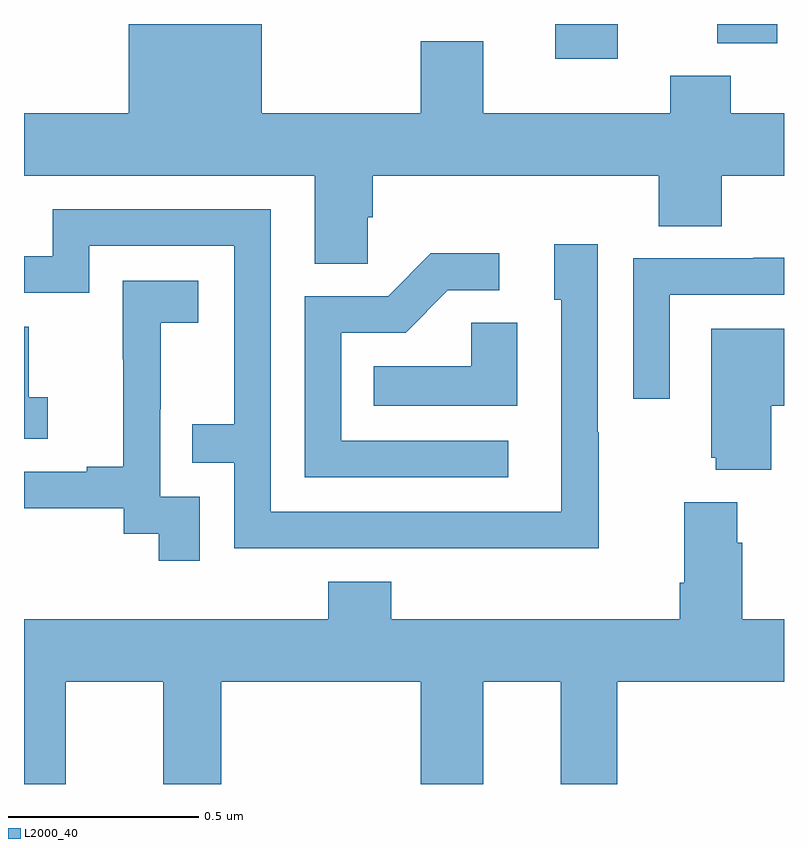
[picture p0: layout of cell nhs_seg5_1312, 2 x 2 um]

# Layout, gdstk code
import gdstk
lib = gdstk.Library(unit=1e-6, precision=1e-09)
def R(c, l, rs):  # rectangles x0, y0, x1, y1
    for r in rs: c.add(gdstk.rectangle(r[:2], r[2:], *l))
def P(c, l, *ps):  # polygons
    for p in ps: c.add(gdstk.Polygon(p, *l))
L2000_40 = (2000, 40)

nhs_seg5_1312 = lib.new_cell('nhs_seg5_1312')
R(nhs_seg5_1312, L2000_40, [(129.398,883.707,129.562,883.799), (129.824,883.748,129.982,883.799)])
P(nhs_seg5_1312, L2000_40, [(128.904,883.291),(128.918,883.291),(128.918,883.4),(129.671,883.4),(129.671,883.267),(129.836,883.267),(129.836,883.4),(130,883.4),(130,883.564),(129.86,883.564),(129.86,883.663),(129.7,883.663),(129.7,883.564),(129.208,883.564),(129.208,883.753),(129.044,883.753),(129.044,883.564),(128.626,883.564),(128.626,883.799),(128.276,883.799),(128.276,883.564),(128,883.564),(128,883.4),(128.765,883.4),(128.765,883.168),(128.904,883.168)],
  [(129.513,882.725),(129.51,882.725),(129.51,883.219),(129.395,883.219),(129.395,883.074),(129.414,883.074),(129.414,882.516),(128.649,882.516),(128.649,883.311),(128.075,883.311),(128.075,883.188),(128,883.188),(128,883.092),(128.172,883.092),(128.172,883.215),(128.553,883.215),(128.553,882.746),(128.443,882.746),(128.443,882.645),(128.553,882.645),(128.553,882.42),(129.049,882.42),(129.049,882.419),(129.513,882.419)],
  [(129.274,882.702),(128.835,882.702),(128.835,882.987),(129.004,882.987),(129.115,883.098),(129.25,883.098),(129.25,883.196),(129.071,883.196),(128.958,883.083),(128.739,883.083),(128.739,882.606),(129.274,882.606)],
  [(129.699,883.086),(130,883.086),(130,883.184),(129.919,883.184),(129.919,883.182),(129.603,883.182),(129.603,882.813),(129.699,882.813)],
  [(128.463,882.555),(128.358,882.555),(128.358,882.785),(128.36,882.785),(128.36,883.013),(128.458,883.013),(128.458,883.123),(128.26,883.123),(128.26,882.917),(128.261,882.917),(128.261,882.634),(128.165,882.634),(128.165,882.621),(128,882.621),(128,882.525),(128.262,882.525),(128.262,882.457),(128.355,882.457),(128.355,882.387),(128.463,882.387)],
  [(129.298,883.013),(129.177,883.013),(129.177,882.898),(128.92,882.898),(128.92,882.794),(129.298,882.794)],
  [(128.062,882.817),(128.013,882.817),(128.013,883.002),(128,883.002),(128,882.708),(128.062,882.708)],
  [(129.967,882.794),(130,882.794),(130,882.997),(129.809,882.997),(129.809,882.657),(129.821,882.657),(129.821,882.626),(129.967,882.626)],
  [(129.877,882.434),(129.877,882.541),(129.737,882.541),(129.737,882.328),(129.725,882.328),(129.725,882.232),(128.966,882.232),(128.966,882.331),(128.801,882.331),(128.801,882.232),(128,882.232),(128,881.799),(128.11,881.799),(128.11,882.068),(128.366,882.068),(128.366,881.799),(128.519,881.799),(128.519,882.068),(129.044,882.068),(129.044,881.799),(129.208,881.799),(129.208,882.068),(129.413,882.068),(129.413,881.799),(129.561,881.799),(129.561,882.068),(130,882.068),(130,882.232),(129.89,882.232),(129.89,882.434)])

lib.write_gds('nhs_seg5_1312.gds')
